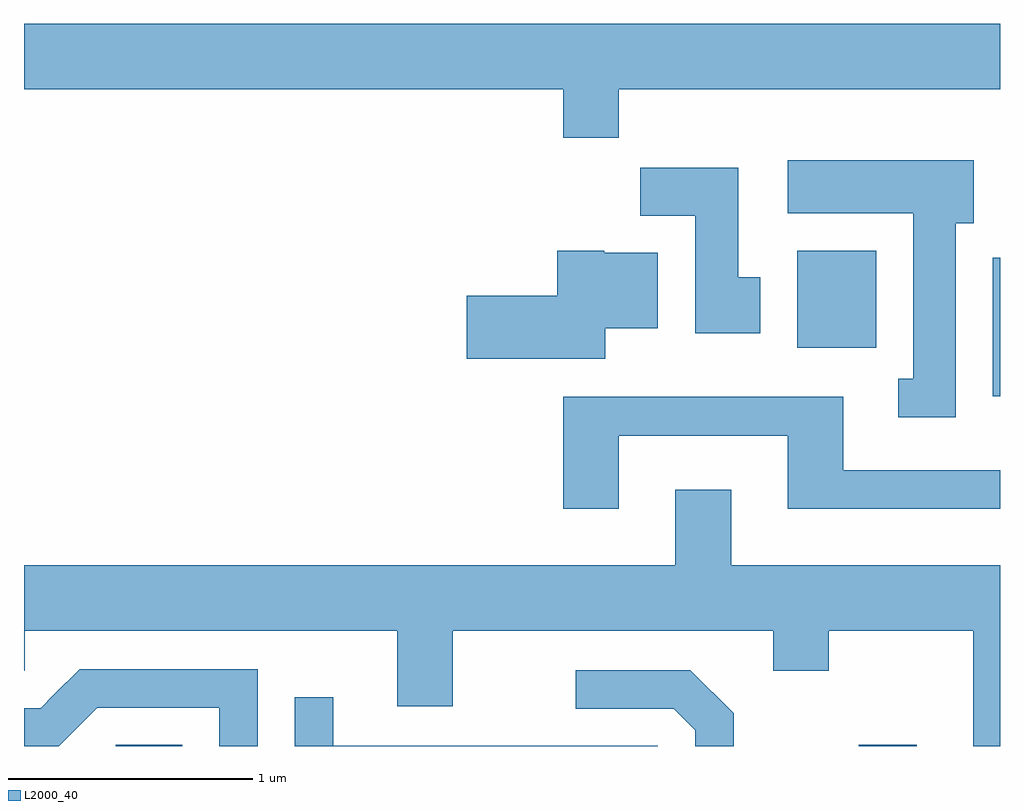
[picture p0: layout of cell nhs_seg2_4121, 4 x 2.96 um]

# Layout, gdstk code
import gdstk
lib = gdstk.Library(unit=1e-6, precision=1e-09)
def R(c, l, rs):  # rectangles x0, y0, x1, y1
    for r in rs: c.add(gdstk.rectangle(r[:2], r[2:], *l))
def P(c, l, *ps):  # polygons
    for p in ps: c.add(gdstk.Polygon(p, *l))
L2000_40 = (2000, 40)

nhs_seg2_4121 = lib.new_cell('nhs_seg2_4121')
R(nhs_seg2_4121, L2000_40, [(305.988,1087.802,306.259,1087.809), (309.033,1087.802,309.269,1087.809), (309.581,1089.236,309.611,1089.804), (308.781,1089.436,309.104,1089.834)])
P(nhs_seg2_4121, L2000_40, [(308.049,1090.496),(309.611,1090.496),(309.611,1090.764),(305.611,1090.764),(305.611,1090.496),(307.821,1090.496),(307.821,1090.296),(308.049,1090.296)],
  [(309.429,1089.946),(309.504,1089.946),(309.504,1090.204),(308.741,1090.204),(308.741,1089.986),(309.256,1089.986),(309.256,1089.309),(309.193,1089.309),(309.193,1089.151),(309.429,1089.151)],
  [(308.629,1089.724),(308.539,1089.724),(308.539,1090.174),(308.136,1090.174),(308.136,1089.976),(308.361,1089.976),(308.361,1089.496),(308.629,1089.496)],
  [(307.994,1089.516),(308.209,1089.516),(308.209,1089.824),(307.99,1089.824),(307.99,1089.834),(307.796,1089.834),(307.796,1089.649),(307.426,1089.649),(307.426,1089.391),(307.994,1089.391)],
  [(308.049,1089.076),(308.741,1089.076),(308.741,1088.776),(309.611,1088.776),(309.611,1088.934),(308.969,1088.934),(308.969,1089.234),(307.821,1089.234),(307.821,1088.776),(308.049,1088.776)],
  [(309.611,1088.544),(308.509,1088.544),(308.509,1088.854),(308.281,1088.854),(308.281,1088.544),(305.611,1088.544),(305.611,1088.111),(305.614,1088.111),(305.614,1088.276),(307.141,1088.276),(307.141,1087.966),(307.369,1087.966),(307.369,1088.276),(308.681,1088.276),(308.681,1088.111),(308.909,1088.111),(308.909,1088.276),(309.501,1088.276),(309.501,1087.802),(309.611,1087.802)],
  [(305.912,1087.961),(306.411,1087.961),(306.411,1087.802),(306.569,1087.802),(306.569,1088.119),(305.839,1088.119),(305.732,1088.013),(305.679,1087.959),(305.611,1087.959),(305.611,1087.802),(305.753,1087.802)],
  [(308.519,1087.937),(308.342,1088.114),(307.873,1088.114),(307.873,1087.956),(308.274,1087.956),(308.361,1087.869),(308.361,1087.802),(308.519,1087.802)],
  [(308.209,1087.804),(306.879,1087.804),(306.879,1088.003),(306.721,1088.003),(306.721,1087.802),(308.209,1087.802)])

lib.write_gds('nhs_seg2_4121.gds')
